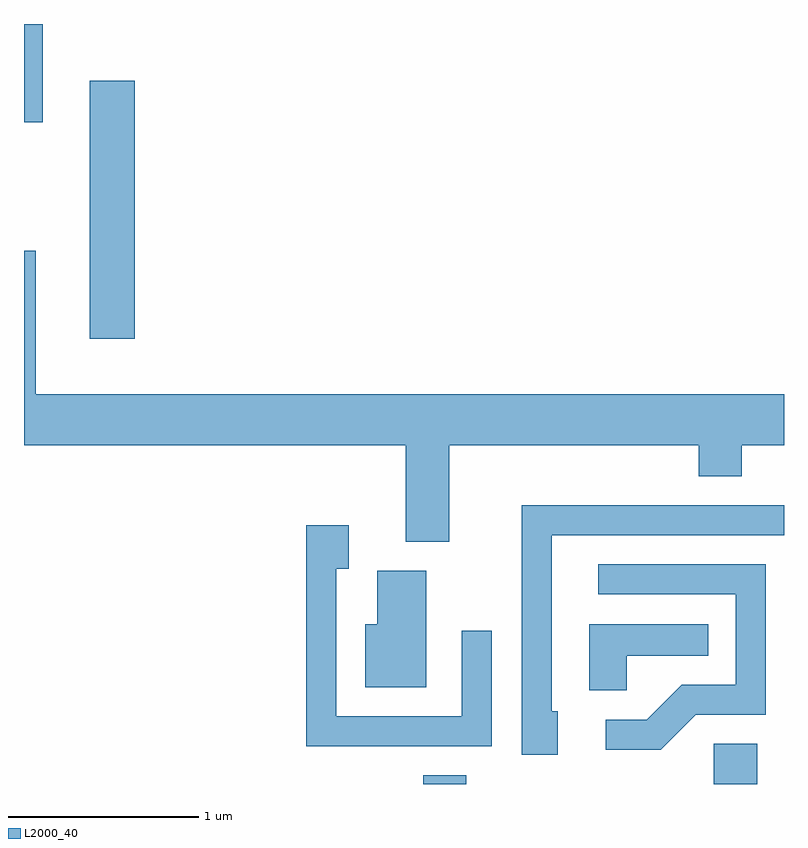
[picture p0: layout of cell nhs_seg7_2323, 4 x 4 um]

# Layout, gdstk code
import gdstk
lib = gdstk.Library(unit=1e-6, precision=1e-09)
def R(c, l, rs):  # rectangles x0, y0, x1, y1
    for r in rs: c.add(gdstk.rectangle(r[:2], r[2:], *l))
def P(c, l, *ps):  # polygons
    for p in ps: c.add(gdstk.Polygon(p, *l))
L2000_40 = (2000, 40)

nhs_seg7_2323 = lib.new_cell('nhs_seg7_2323')
R(nhs_seg7_2323, L2000_40, [(257.711,1770.252,257.939,1770.299), (259.241,1770.252,259.469,1770.464), (255.956,1772.596,256.194,1773.954), (255.611,1773.736,255.709,1774.252)])
P(nhs_seg7_2323, L2000_40, [(257.849,1772.036),(259.161,1772.036),(259.161,1771.871),(259.389,1771.871),(259.389,1772.036),(259.611,1772.036),(259.611,1772.304),(255.674,1772.304),(255.674,1773.058),(255.611,1773.058),(255.611,1772.036),(257.621,1772.036),(257.621,1771.526),(257.849,1771.526)],
  [(258.419,1770.634),(258.389,1770.634),(258.389,1771.561),(259.611,1771.561),(259.611,1771.719),(258.231,1771.719),(258.231,1770.406),(258.419,1770.406)],
  [(258.074,1771.058),(257.916,1771.058),(257.916,1770.609),(257.254,1770.609),(257.254,1771.386),(257.319,1771.386),(257.319,1771.614),(257.096,1771.614),(257.096,1770.451),(258.074,1770.451)],
  [(259.147,1770.616),(259.514,1770.616),(259.514,1771.409),(258.633,1771.409),(258.633,1771.251),(259.356,1771.251),(259.356,1770.774),(259.074,1770.774),(258.889,1770.589),(258.673,1770.589),(258.673,1770.431),(258.962,1770.431)],
  [(257.729,1771.374),(257.471,1771.374),(257.471,1771.094),(257.406,1771.094),(257.406,1770.761),(257.729,1770.761)],
  [(258.784,1770.926),(259.212,1770.926),(259.212,1771.094),(258.586,1771.094),(258.586,1770.746),(258.784,1770.746)])

lib.write_gds('nhs_seg7_2323.gds')
